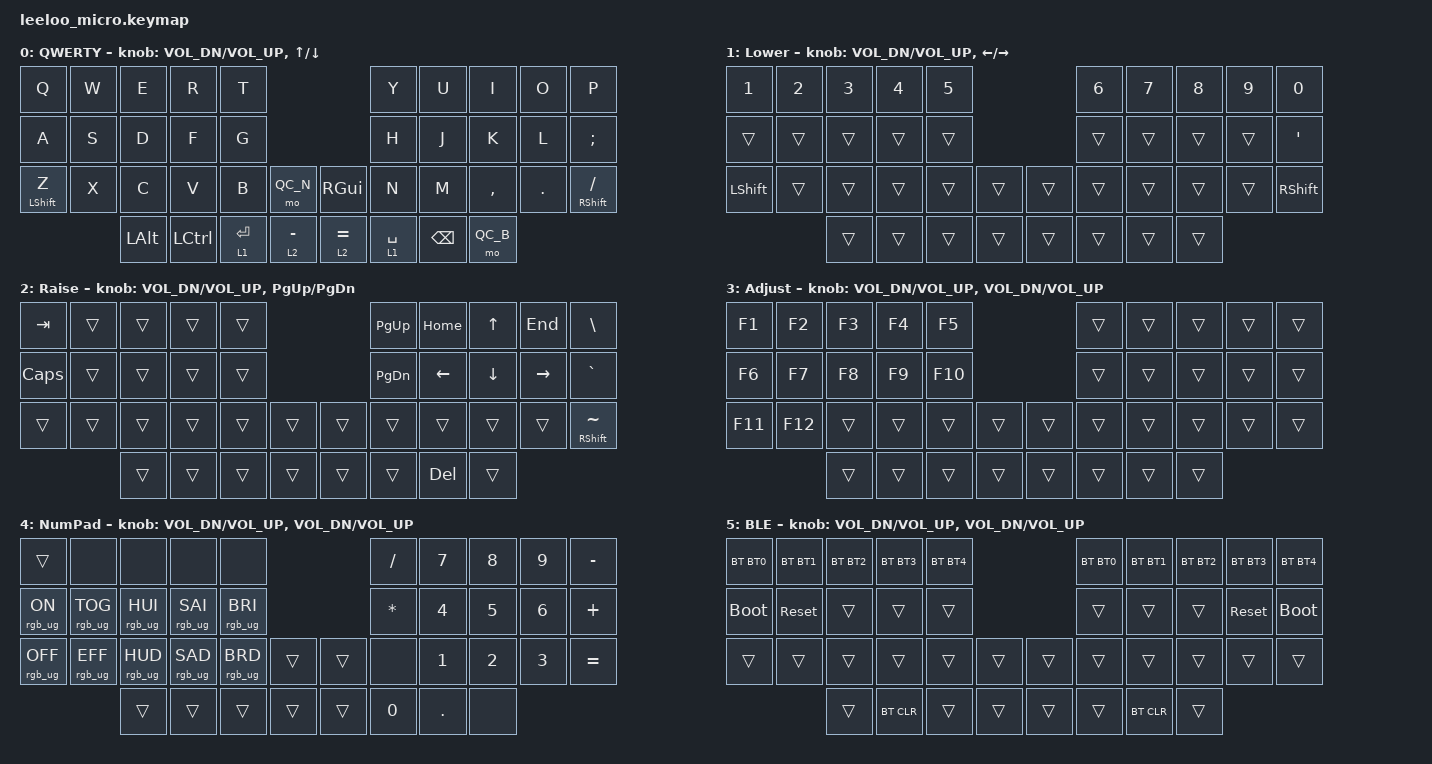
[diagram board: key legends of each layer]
/*
 * Copyright (c) 2024 The ZMK Contributors
 * SPDX-License-Identifier: MIT
 */

#include <behaviors.dtsi>
#include <dt-bindings/zmk/outputs.h>
#include <dt-bindings/zmk/keys.h>
#include <dt-bindings/zmk/bt.h>
#include <dt-bindings/zmk/rgb.h>

// Layers
#define QW_M    0       // Main
#define QW_L    1       // Lower
#define QW_R    2       // Raise
#define QW_A    3       // Adjust

#define QC_N    4       // Number Pad
#define QC_B    5       // Firmware


// Short versions
#define BT0         BT_SEL 0
#define BT1         BT_SEL 1
#define BT2         BT_SEL 2
#define BT3         BT_SEL 3
#define BT4         BT_SEL 4

#define BOOTLDR     &bootloader

#define RGBON   &rgb_ug RGB_ON
#define RGBOFF  &rgb_ug RGB_OFF
#define RGBTOG  &rgb_ug RGB_TOG
#define RGBHUI  &rgb_ug RGB_HUI
#define RGBHUD  &rgb_ug RGB_HUD
#define RGBSAI  &rgb_ug RGB_SAI
#define RGBSAD  &rgb_ug RGB_SAD
#define RGBBRI  &rgb_ug RGB_BRI
#define RGBBRD  &rgb_ug RGB_BRD
#define RGBEFF  &rgb_ug RGB_EFF


/*
 * Assign the cs-gpios pin to 4.
 * Uncomment these next few lines if implementing nice!view Displays.
 */
//nice_view_spi: &spi0 {
//  cs-gpios = <&pro_micro 4 GPIO_ACTIVE_HIGH>;
//};


/ {
    conditional_layers {
        compatible = "zmk,conditional-layers";
        adjust_layer {
            if-layers = <QW_L QW_R>;
            then-layer = <QW_A>;
        };
    };

    combos {
        compatible = "zmk,combos";

        combo_esc {
            timeout-ms = <50>;
            key-positions = <0 1>;
            layers = <QW_M>;
            bindings = <&kp ESC>;
        };
    };

    keymap {
        compatible = "zmk,keymap";

        default_layer {
            display-name = " QWERTY";
            bindings = <
&kp Q      &kp W      &kp E      &kp R      &kp T                            &kp Y      &kp U      &kp I      &kp O      &kp P
&kp A      &kp S      &kp D      &kp F      &kp G                            &kp H      &kp J      &kp K      &kp L      &kp SEMI
&mt LSHFT Z &kp X      &kp C      &kp V      &kp B     &mo QC_N    &kp RGUI   &kp N      &kp M      &kp COMMA  &kp DOT    &mt RSHFT FSLH
                  &kp LALT   &kp LCTRL  &lt 1 RET  &lt 2 MINUS    &lt 2 EQUAL  &lt 1 SPACE  &kp BSPC   &mo QC_B
            >;

            sensor-bindings = <&inc_dec_kp C_VOL_DN C_VOL_UP &inc_dec_kp UP DOWN>;
        };

        lower_layer {
            display-name = " Lower";
            bindings = <
&kp N1     &kp N2     &kp N3     &kp N4     &kp N5                           &kp N6     &kp N7     &kp N8     &kp N9     &kp N0
&trans     &trans     &trans     &trans     &trans                           &trans     &trans     &trans     &trans     &kp SQT
&kp LSHFT  &trans     &trans     &trans     &trans     &trans     &trans     &trans     &trans     &trans     &trans     &kp RSHFT
                      &trans     &trans     &trans     &trans     &trans     &trans     &trans     &trans
            >;

            sensor-bindings = <&inc_dec_kp C_VOL_DN C_VOL_UP &inc_dec_kp LEFT RIGHT>;
        };

        raise_layer {
            display-name = " Raise";
            bindings = <
&kp TAB    &trans     &trans     &trans     &trans                           &kp PG_UP  &kp HOME   &kp UP     &kp END    &kp BSLH
&kp CAPS   &trans     &trans     &trans     &trans                           &kp PG_DN  &kp LEFT   &kp DOWN   &kp RIGHT  &kp GRAVE
&trans     &trans     &trans     &trans     &trans     &trans     &trans     &trans     &trans     &trans     &trans     &mt RSHFT TILDE
                      &trans     &trans     &trans     &trans     &trans     &trans     &kp DEL    &trans
            >;

            sensor-bindings = <&inc_dec_kp C_VOL_DN C_VOL_UP &inc_dec_kp PG_UP PG_DN>;
        };

        adjust_layer {
            display-name = " Adjust";
            bindings = <

&kp F1     &kp F2     &kp F3     &kp F4     &kp F5                           &trans     &trans     &trans     &trans     &trans
&kp F6     &kp F7     &kp F8     &kp F9     &kp F10                          &trans     &trans     &trans     &trans     &trans
&kp F11    &kp F12    &trans     &trans     &trans     &trans     &trans     &trans     &trans     &trans     &trans     &trans
                      &trans     &trans     &trans     &trans     &trans     &trans     &trans     &trans
            >;

            sensor-bindings = <&inc_dec_kp C_VOL_DN C_VOL_UP &inc_dec_kp C_VOL_DN C_VOL_UP>;
        };

        numpad_layer {
            display-name = " NumPad";
            bindings = <

&trans     &none      &none      &none      &none                            &kp SLASH  &kp N7     &kp N8     &kp N9     &kp MINUS
RGBON      RGBTOG     RGBHUI     RGBSAI     RGBBRI                           &kp ASTRK  &kp N4     &kp N5     &kp N6     &kp PLUS
RGBOFF     RGBEFF     RGBHUD     RGBSAD     RGBBRD     &trans     &trans     &none      &kp N1     &kp N2     &kp N3     &kp EQUAL
                      &trans     &trans     &trans     &trans     &trans     &kp N0     &kp DOT    &none
            >;

            sensor-bindings = <&inc_dec_kp C_VOL_DN C_VOL_UP &inc_dec_kp C_VOL_DN C_VOL_UP>;
        };

        ble_layer {
            display-name = " BLE";
            bindings = <

&bt BT0    &bt BT1    &bt BT2    &bt BT3    &bt BT4                          &bt BT0    &bt BT1    &bt BT2    &bt BT3    &bt BT4
BOOTLDR    &sys_reset &trans     &trans     &trans                           &trans     &trans     &trans     &sys_reset BOOTLDR
&trans     &trans     &trans     &trans     &trans     &trans     &trans     &trans     &trans     &trans     &trans     &trans
                      &trans     &bt BT_CLR &trans     &trans     &trans     &trans     &bt BT_CLR &trans
            >;

            sensor-bindings = <&inc_dec_kp C_VOL_DN C_VOL_UP &inc_dec_kp C_VOL_DN C_VOL_UP>;
        };

    };
};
